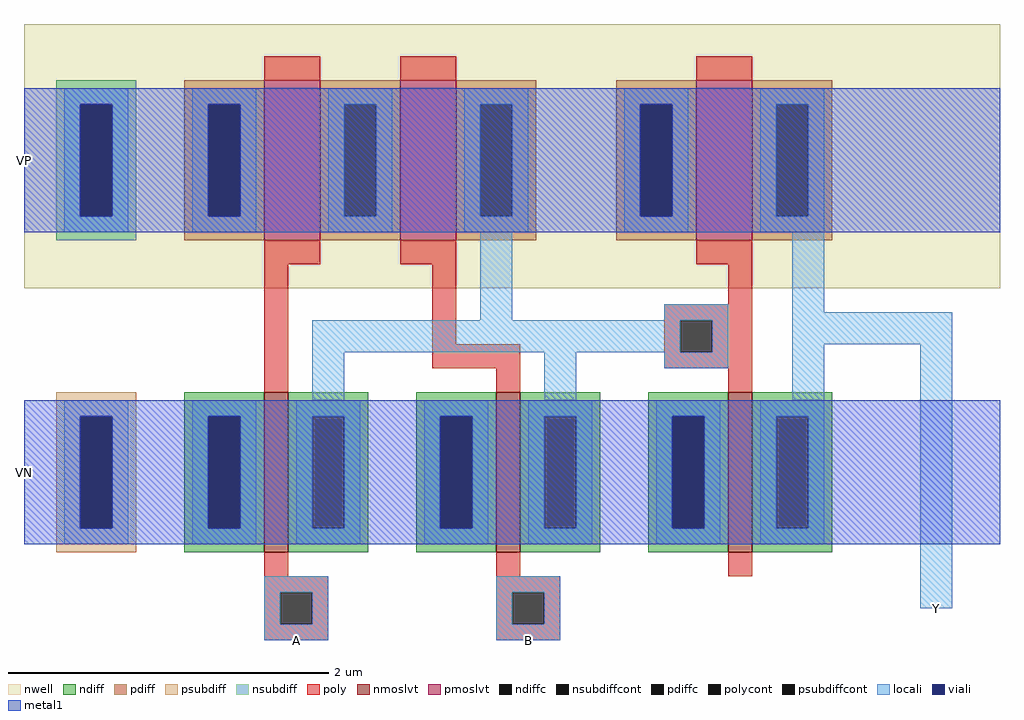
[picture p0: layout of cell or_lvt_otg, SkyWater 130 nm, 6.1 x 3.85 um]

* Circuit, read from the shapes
.subckt or_lvt_otg VP VN A B Y
XM1 n1 A VN VN sky130_fd_pr__nfet_01v8_lvt w=1 l=0.15
XM2 n1 B VN VN sky130_fd_pr__nfet_01v8_lvt w=1 l=0.15
XM3 Y n1 VN VN sky130_fd_pr__nfet_01v8_lvt w=1 l=0.15
XM4 n2 A VP VP sky130_fd_pr__pfet_01v8_lvt w=1 l=0.35
XM5 n1 B n2 VP sky130_fd_pr__pfet_01v8_lvt w=1 l=0.35
XM6 Y n1 VP VP sky130_fd_pr__pfet_01v8_lvt w=1 l=0.35
.ends

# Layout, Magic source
magic
tech sky130A
<< nwell >>
rect -205 115 405 280
<< pmoslvt >>
rect -55 145 -20 245
rect 30 145 65 245
rect 215 145 250 245
<< nmoslvt >>
rect -55 -50 -40 50
rect 90 -50 105 50
rect 235 -50 250 50
<< ndiff >>
rect -105 35 -55 50
rect -105 -35 -90 35
rect -70 -35 -55 35
rect -105 -50 -55 -35
rect -40 35 10 50
rect -40 -35 -25 35
rect -5 -35 10 35
rect -40 -50 10 -35
rect 40 35 90 50
rect 40 -35 55 35
rect 75 -35 90 35
rect 40 -50 90 -35
rect 105 35 155 50
rect 105 -35 120 35
rect 140 -35 155 35
rect 105 -50 155 -35
rect 185 35 235 50
rect 185 -35 200 35
rect 220 -35 235 35
rect 185 -50 235 -35
rect 250 35 300 50
rect 250 -35 265 35
rect 285 -35 300 35
rect 250 -50 300 -35
<< pdiff >>
rect -105 230 -55 245
rect -105 160 -90 230
rect -70 160 -55 230
rect -105 145 -55 160
rect -20 230 30 245
rect -20 160 -5 230
rect 15 160 30 230
rect -20 145 30 160
rect 65 230 115 245
rect 65 160 80 230
rect 100 160 115 230
rect 65 145 115 160
rect 165 230 215 245
rect 165 160 180 230
rect 200 160 215 230
rect 165 145 215 160
rect 250 230 300 245
rect 250 160 265 230
rect 285 160 300 230
rect 250 145 300 160
<< ndiffc >>
rect -90 -35 -70 35
rect -25 -35 -5 35
rect 55 -35 75 35
rect 120 -35 140 35
rect 200 -35 220 35
rect 265 -35 285 35
<< pdiffc >>
rect -90 160 -70 230
rect -5 160 15 230
rect 80 160 100 230
rect 180 160 200 230
rect 265 160 285 230
<< psubdiff >>
rect -185 35 -135 50
rect -185 -35 -170 35
rect -150 -35 -135 35
rect -185 -50 -135 -35
<< nsubdiff >>
rect -185 230 -135 245
rect -185 160 -170 230
rect -150 160 -135 230
rect -185 145 -135 160
<< psubdiffcont >>
rect -170 -35 -150 35
<< nsubdiffcont >>
rect -170 160 -150 230
<< poly >>
rect -55 245 -20 260
rect 30 245 65 260
rect 215 245 250 260
rect -55 130 -20 145
rect 30 130 65 145
rect 215 130 250 145
rect -55 50 -40 130
rect 50 80 65 130
rect 235 105 250 130
rect 195 95 250 105
rect 50 65 105 80
rect 195 75 205 95
rect 225 75 250 95
rect 195 65 250 75
rect 90 50 105 65
rect 235 50 250 65
rect -55 -65 -40 -50
rect 90 -65 105 -50
rect 235 -65 250 -50
rect -55 -75 -15 -65
rect -55 -95 -45 -75
rect -25 -95 -15 -75
rect -55 -105 -15 -95
rect 90 -75 130 -65
rect 90 -95 100 -75
rect 120 -95 130 -75
rect 90 -105 130 -95
<< polycont >>
rect 205 75 225 95
rect -45 -95 -25 -75
rect 100 -95 120 -75
<< locali >>
rect -180 230 -140 240
rect -180 160 -170 230
rect -150 160 -140 230
rect -180 150 -140 160
rect -100 230 -60 240
rect -100 160 -90 230
rect -70 160 -60 230
rect -100 150 -60 160
rect -15 230 25 240
rect -15 160 -5 230
rect 15 160 25 230
rect -15 150 25 160
rect 70 230 110 240
rect 70 160 80 230
rect 100 160 110 230
rect 70 150 110 160
rect 170 230 210 240
rect 170 160 180 230
rect 200 160 210 230
rect 170 150 210 160
rect 255 230 295 240
rect 255 160 265 230
rect 285 160 295 230
rect 255 150 295 160
rect 80 95 100 150
rect 195 95 235 105
rect -25 75 205 95
rect 225 75 235 95
rect -25 45 -5 75
rect 120 45 140 75
rect 195 65 235 75
rect 275 100 295 150
rect 275 80 375 100
rect 275 45 295 80
rect -180 35 -140 45
rect -180 -35 -170 35
rect -150 -35 -140 35
rect -180 -45 -140 -35
rect -100 35 -60 45
rect -100 -35 -90 35
rect -70 -35 -60 35
rect -100 -45 -60 -35
rect -35 35 5 45
rect -35 -35 -25 35
rect -5 -35 5 35
rect -35 -45 5 -35
rect 45 35 85 45
rect 45 -35 55 35
rect 75 -35 85 35
rect 45 -45 85 -35
rect 110 35 150 45
rect 110 -35 120 35
rect 140 -35 150 35
rect 110 -45 150 -35
rect 190 35 230 45
rect 190 -35 200 35
rect 220 -35 230 35
rect 190 -45 230 -35
rect 255 35 295 45
rect 255 -35 265 35
rect 285 -35 295 35
rect 255 -45 295 -35
rect -55 -75 -15 -65
rect -55 -95 -45 -75
rect -25 -95 -15 -75
rect -55 -105 -15 -95
rect 90 -75 130 -65
rect 90 -95 100 -75
rect 120 -95 130 -75
rect 355 -85 375 80
rect 90 -105 130 -95
<< viali >>
rect -170 160 -150 230
rect -90 160 -70 230
rect 180 160 200 230
rect -170 -35 -150 35
rect -90 -35 -70 35
rect 55 -35 75 35
rect 200 -35 220 35
<< metal1 >>
rect -205 230 405 240
rect -205 160 -170 230
rect -150 160 -90 230
rect -70 160 180 230
rect 200 160 405 230
rect -205 150 405 160
rect -205 35 405 45
rect -205 -35 -170 35
rect -150 -35 -90 35
rect -70 -35 55 35
rect 75 -35 200 35
rect 220 -35 405 35
rect -205 -45 405 -35
<< labels >>
rlabel metal1 -205 195 -205 195 7 VP
port 1 w
rlabel metal1 -205 0 -205 0 7 VN
port 2 w
rlabel locali -35 -105 -35 -105 5 A
port 3 s
rlabel locali 110 -105 110 -105 5 B
port 4 s
rlabel locali 365 -85 365 -85 5 Y
port 5 s
<< end >>
